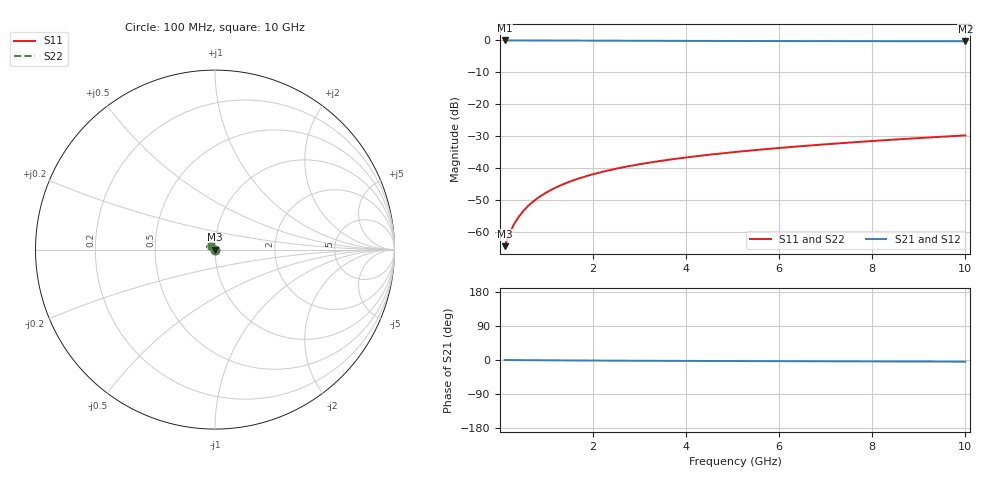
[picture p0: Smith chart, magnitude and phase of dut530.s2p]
! Touchstone file exported from HFSS 2024.1.0
!  File:  C:/UserFiles/LocalFiles/RDL_TSV_Batchsim/temp_TSV1_530_1779704367.aedt
!  Generated:  06:28:17 PM May 25, 2026
!  Design:  TSV1
!  Project:  temp_TSV1_530_1779704367
!  Setup:  Setup1
!  Solution:  Sweep
! Variables:
!  dtsv = 5.21um
!  hbump = 3um
!  htsv = 61.03um
!  lrdl = 252.1521522um
!  p = 40
!  p1 = 50.1um
!  t = 500um
!  trdl = 3um
!  wrdl = 24.89489489um
# GHz S MA R 50.000000
! Terminal data exported
! Port[1] = TSV22_T1
! Port[2] = TSV22_T2
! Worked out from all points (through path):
!   100 points, 100 MHz to 10 GHz, reference 50 ohm
!   highest |S21| = 0.00 dB at 100 MHz (marker M1); lowest = -0.3 dB at 10 GHz (marker M2)
!   lowest |S11| = -64.6 dB at 100 MHz (marker M3), VSWR 1.00, Z = 50 - j0.0426 ohm
!   |S11| at or under -10 dB: start of sweep to end of sweep
!   |S22| runs from -64.6 to -29.8 dB; largest |S21 - S12| = 7.1e-15
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0.1  0.0005914 -46.0  0.9995 -0.1  0.9995 -0.1  0.0005914 -46.0
! Gamma 0 0 0 0
! Port Impedance 50 0 50 0
0.2  0.0009196 -67.7  0.9995 -0.2  0.9995 -0.2  0.0009196 -67.7
0.3  0.001299 -79.0  0.9994 -0.2  0.9994 -0.2  0.001299 -79.0
0.4  0.001697 -86.2  0.9992 -0.3  0.9992 -0.3  0.001697 -86.2
0.5  0.002101 -91.5  0.9991 -0.4  0.9991 -0.4  0.002101 -91.5
0.6  0.002509 -95.9  0.9988 -0.5  0.9988 -0.5  0.002509 -95.9
0.7  0.002916 -99.7  0.9986 -0.6  0.9986 -0.6  0.002916 -99.7
0.8  0.003322 -103.1  0.9983 -0.6  0.9983 -0.6  0.003322 -103.1
0.9  0.003726 -106.3  0.998 -0.7  0.998 -0.7  0.003726 -106.3
1  0.004127 -109.4  0.9977 -0.8  0.9977 -0.8  0.004127 -109.4
1.2  0.004921 -115.0  0.997 -0.9  0.997 -0.9  0.004921 -115.0
1.5  0.006086 -122.8  0.9957 -1.1  0.9957 -1.1  0.006086 -122.8
1.8  0.007216 -130.1  0.9944 -1.3  0.9944 -1.3  0.007216 -130.1
2.1  0.008312 -136.9  0.9929 -1.5  0.9929 -1.5  0.008312 -136.9
2.5  0.00972 -145.3  0.9909 -1.7  0.9909 -1.7  0.00972 -145.3
2.9  0.01107 -153.0  0.989 -1.9  0.989 -1.9  0.01107 -153.0
3.4  0.0127 -161.7  0.9867 -2.2  0.9867 -2.2  0.0127 -161.7
4.2  0.01519 -173.9  0.9834 -2.5  0.9834 -2.5  0.01519 -173.9
5.1  0.01789 174.6  0.9803 -2.8  0.9803 -2.8  0.01789 174.6
6.7  0.02259 158.8  0.9763 -3.3  0.9763 -3.3  0.02259 158.9
8.4  0.02758 146.7  0.9734 -3.9  0.9734 -3.9  0.02758 146.7
10  0.03235 138.0  0.9715 -4.4  0.9715 -4.4  0.03235 138.0
